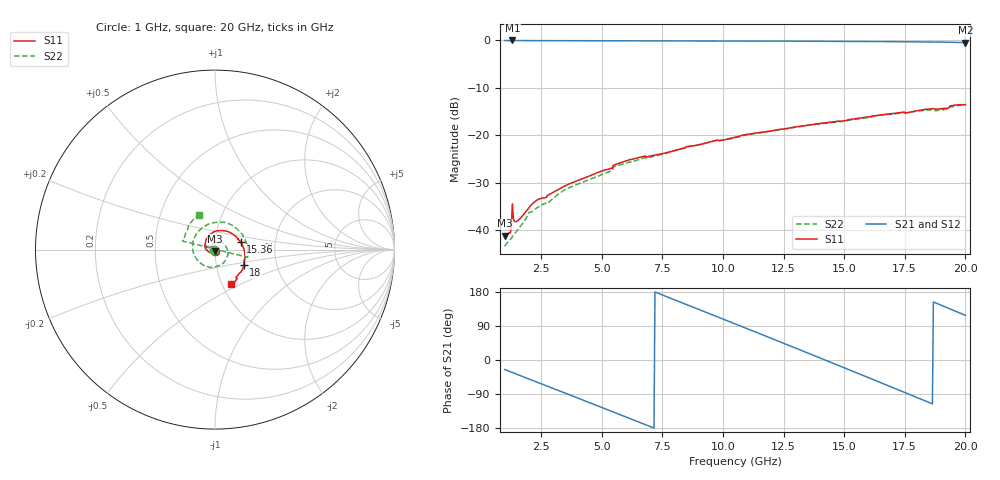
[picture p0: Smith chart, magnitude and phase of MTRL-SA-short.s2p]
! Multiline TRL de-embedded results
! Powered by MTRL v0.1 based on Matlab. Written by Simon.
! 29-Mar-2016 20:38:35
# hz S ma R 50
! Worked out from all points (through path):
!   476 points, 1 GHz to 20 GHz, reference 50 ohm
!   highest |S21| = 0.00 dB at 1.32 GHz (marker M1); lowest = -0.4 dB at 20 GHz (marker M2)
!   lowest |S11| = -41.1 dB at 1 GHz (marker M3), VSWR 1.02, Z = 50.1 - j0.875 ohm
!   |S11| at or under -10 dB: start of sweep to end of sweep
!   |S22| runs from -43.4 to -13.4 dB; largest |S21 - S12| = 0
!   S11 on the Smith chart (normalised r, x): 1 GHz: 1.00, -0.02; 15.36 GHz: 1.33, +0.12; 18 GHz: 1.36, -0.24; 20 GHz: 1.10, -0.44
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1e9  0.008772 -84.5  0.9984 -25.1  0.9984 -25.1  0.006798 -152.9
1.2e9  0.009387 -108.9  0.9966 -30.2  0.9966 -30.2  0.007841 -156.9
1.32e9  0.01896 -22.2  1 -32.6  1 -32.6  0.00861 -158.7
2e9  0.01727 -107.1  0.9961 -50.1  0.9961 -50.1  0.01543 -174.0
2.8e9  0.0235 -128.6  0.9958 -70.0  0.9958 -70.0  0.01942 166.6
4.2e9  0.0347 -156.5  0.9947 -105.0  0.9947 -105.0  0.03192 128.0
5.04e9  0.0423 -171.6  0.9939 -126.0  0.9939 -126.0  0.03898 100.5
5.92e9  0.05295 174.2  0.9925 -148.2  0.9925 -148.2  0.05031 72.0
7.36e9  0.06313 149.4  0.9912 175.3  0.9912 175.3  0.0619 21.5
8.76e9  0.0775 124.7  0.9901 139.8  0.9901 139.8  0.07746 -24.8
9.68e9  0.08783 110.4  0.9889 116.3  0.9889 116.3  0.08795 -57.7
1.052e10  0.09583 96.6  0.9876 95.0  0.9876 95.0  0.09486 -86.0
1.2e10  0.1115 72.1  0.9845 57.2  0.9845 57.2  0.111 -137.9
1.288e10  0.1213 58.0  0.9831 34.5  0.9831 34.5  0.1205 -169.5
1.368e10  0.1299 44.1  0.9815 13.8  0.9815 13.8  0.1291 163.0
1.452e10  0.1387 29.5  0.9801 -8.0  0.9801 -8.0  0.1368 133.8
1.536e10  0.1485 16.9  0.9777 -29.8  0.9777 -29.8  0.1468 103.4
1.684e10  0.1682 -9.1  0.9727 -68.4  0.9727 -68.4  0.1662 51.2
1.8e10  0.1817 -27.9  0.9676 -98.9  0.9676 -98.9  0.1799 9.2
1.856e10  0.1899 -39.1  0.9637 -113.7  0.9637 -113.7  0.1855 -10.5
1.876e10  0.1886 -44.1  0.962 151.1  0.962 151.1  0.1816 163.0
2e10  0.2099 -65.2  0.9507 117.8  0.9507 117.8  0.214 114.6
